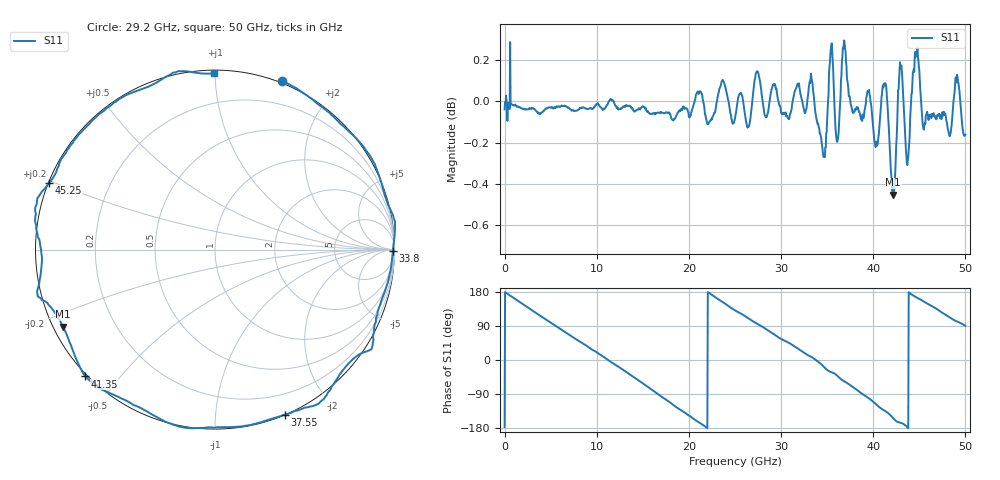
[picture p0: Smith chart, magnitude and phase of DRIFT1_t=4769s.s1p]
!Created with skrf (http://scikit-rf.org).
# Hz S RI R 50.0
!freq ReS11 ImS11
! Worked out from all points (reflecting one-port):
!   1001 points, 300 kHz to 50 GHz, reference 50 ohm
!   lowest |S11| = -0.5 dB at 42.15 GHz (marker M1), VSWR 38.32, Z = 1.38 - j12 ohm
!   phase of S11 starts at -177 deg and turns -813 deg over the sweep
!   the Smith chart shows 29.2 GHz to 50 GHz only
!   S11 on the Smith chart (normalised r, x): 29.2 GHz: -0.01, +1.47; 33.8 GHz: open; 37.55 GHz: 0.00, -1.51; 41.35 GHz: -0.01, -0.41; 45.25 GHz: 0.00, +0.19; 50 GHz: 0.02, +1.00
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300000  -0.9942 -0.0528
1.60029e9  -0.893 0.4431
3.35028e9  -0.5708 0.815
6.250262e9  0.1982 0.9776
9.500243e9  0.887 0.453
1.115023e10  0.9978 0.0252
1.250022e10  0.9346 -0.3436
1.420021e10  0.6628 -0.7416
1.580021e10  0.2495 -0.9611
1.73502e10  -0.2027 -0.9727
1.875019e10  -0.5889 -0.8002
2.160017e10  -0.991 -0.1253
2.345016e10  -0.9253 0.4017
2.500015e10  -0.6486 0.7485
2.730014e10  -0.1282 1.008
2.920012e10  0.372 0.938
3.125011e10  0.7761 0.6306
3.38001e10  0.9914 -0.00512
3.520009e10  0.8833 -0.501
3.750008e10  0.4028 -0.9162
3.755007e10  0.389 -0.9198
3.950006e10  -0.1853 -0.9882
4.135005e10  -0.7216 -0.7064
4.215005e10  -0.8462 -0.4299
4.375004e10  -0.9673 -0.021
4.525003e10  -0.9224 0.3726
4.770001e10  -0.5214 0.8455
5e10  -0.00388 0.9815
